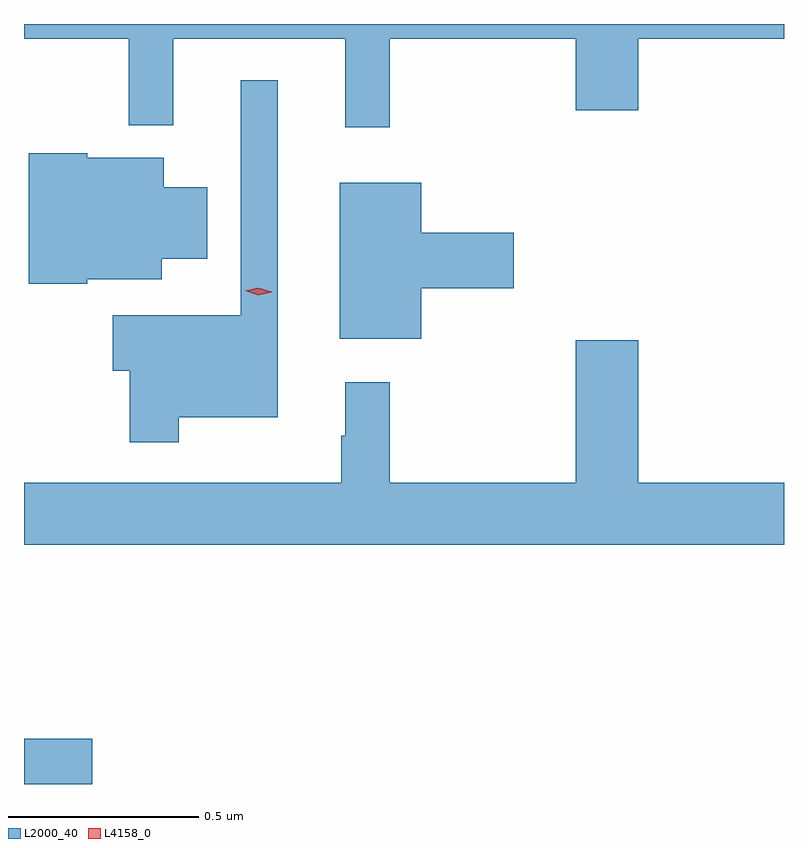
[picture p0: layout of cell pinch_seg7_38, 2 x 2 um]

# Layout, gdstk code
import gdstk
lib = gdstk.Library(unit=1e-6, precision=1e-09)
def R(c, l, rs):  # rectangles x0, y0, x1, y1
    for r in rs: c.add(gdstk.rectangle(r[:2], r[2:], *l))
def P(c, l, *ps):  # polygons
    for p in ps: c.add(gdstk.Polygon(p, *l))
L2000_40 = (2000, 40)
L4158_0 = (4158, 0)

pinch_seg7_38 = lib.new_cell('pinch_seg7_38')
R(pinch_seg7_38, L2000_40, [(1050.668,1051.935,1050.847,1052.054)])
P(pinch_seg7_38, L2000_40, [(1051.631,1053.896),(1052.12,1053.896),(1052.12,1053.708),(1052.284,1053.708),(1052.284,1053.896),(1052.668,1053.896),(1052.668,1053.935),(1050.668,1053.935),(1050.668,1053.896),(1050.943,1053.896),(1050.943,1053.668),(1051.061,1053.668),(1051.061,1053.896),(1051.514,1053.896),(1051.514,1053.663),(1051.631,1053.663)],
  [(1051.075,1052.9),(1051.336,1052.9),(1051.336,1053.787),(1051.239,1053.787),(1051.239,1053.169),(1050.902,1053.169),(1050.902,1053.022),(1050.946,1053.022),(1050.946,1052.835),(1051.075,1052.835)],
  [(1050.834,1053.263),(1051.03,1053.263),(1051.03,1053.317),(1051.15,1053.317),(1051.15,1053.505),(1051.036,1053.505),(1051.036,1053.583),(1050.834,1053.583),(1050.834,1053.595),(1050.68,1053.595),(1050.68,1053.251),(1050.834,1053.251)],
  [(1051.714,1053.239),(1051.957,1053.239),(1051.957,1053.386),(1051.714,1053.386),(1051.714,1053.517),(1051.499,1053.517),(1051.499,1053.107),(1051.714,1053.107)],
  [(1052.668,1052.728),(1052.284,1052.728),(1052.284,1053.103),(1052.12,1053.103),(1052.12,1052.728),(1051.631,1052.728),(1051.631,1052.992),(1051.514,1052.992),(1051.514,1052.852),(1051.503,1052.852),(1051.503,1052.728),(1050.668,1052.728),(1050.668,1052.564),(1052.668,1052.564)])
P(pinch_seg7_38, L4158_0, [(1051.284,1053.221),(1051.25,1053.233),(1051.249,1053.233),(1051.25,1053.233),(1051.285,1053.241),(1051.32,1053.23),(1051.32,1053.229),(1051.32,1053.229)])

lib.write_gds('pinch_seg7_38.gds')
